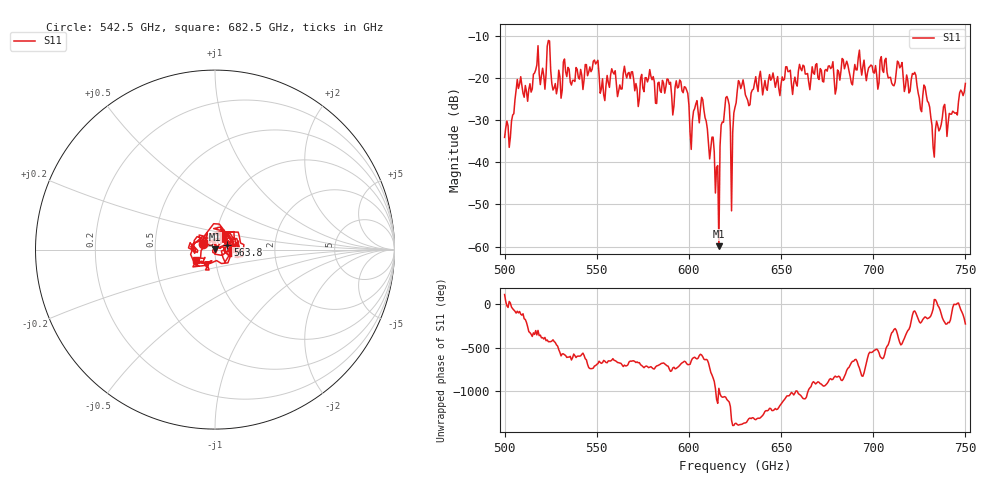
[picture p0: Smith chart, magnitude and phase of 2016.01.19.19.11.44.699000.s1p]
!Created with skrf (http://scikit-rf.org).
# GHz S RI R 50.0
!freq ReS11 ImS11
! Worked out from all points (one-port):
!   401 points, 500 GHz to 750 GHz, reference 50 ohm
!   lowest |S11| = -59.9 dB at 616.2 GHz (marker M1), VSWR 1.00, Z = 50 + j0.0918 ohm
!   |S11| at or under -10 dB: start of sweep to end of sweep
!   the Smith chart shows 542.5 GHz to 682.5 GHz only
!   S11 on the Smith chart (normalised r, x): 542.5 GHz: 0.87, +0.05; 563.8 GHz: 1.15, +0.06; 682.5 GHz: 0.80, -0.10
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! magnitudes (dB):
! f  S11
! 500 GHz  -34.1
! 503.8 GHz  -30.2
! 507.5 GHz  -22.5
! 513.8 GHz  -21.4
! 516.9 GHz  -18.1
! 531.2 GHz  -22.9
! 542.5 GHz  -22.7
! 549.4 GHz  -16.7
! 553.1 GHz  -20.2
! 562.5 GHz  -21.6
! 563.8 GHz  -22.6
! 593.8 GHz  -22.4
! 601.2 GHz  -36.9
! 607.5 GHz  -25.1
! 615 GHz  -41.2
! 616.2 GHz  -59.9
! 620 GHz  -24.7
! 623.1 GHz  -51.5
! 625 GHz  -27.0
! 628.1 GHz  -22.5
! 656.2 GHz  -23.9
! 682.5 GHz  -18.3
! 687.5 GHz  -19.7
! 714.4 GHz  -17.6
! 718.8 GHz  -20.6
! 728.8 GHz  -23.9
! 733.1 GHz  -38.8
! 750 GHz  -21.3
